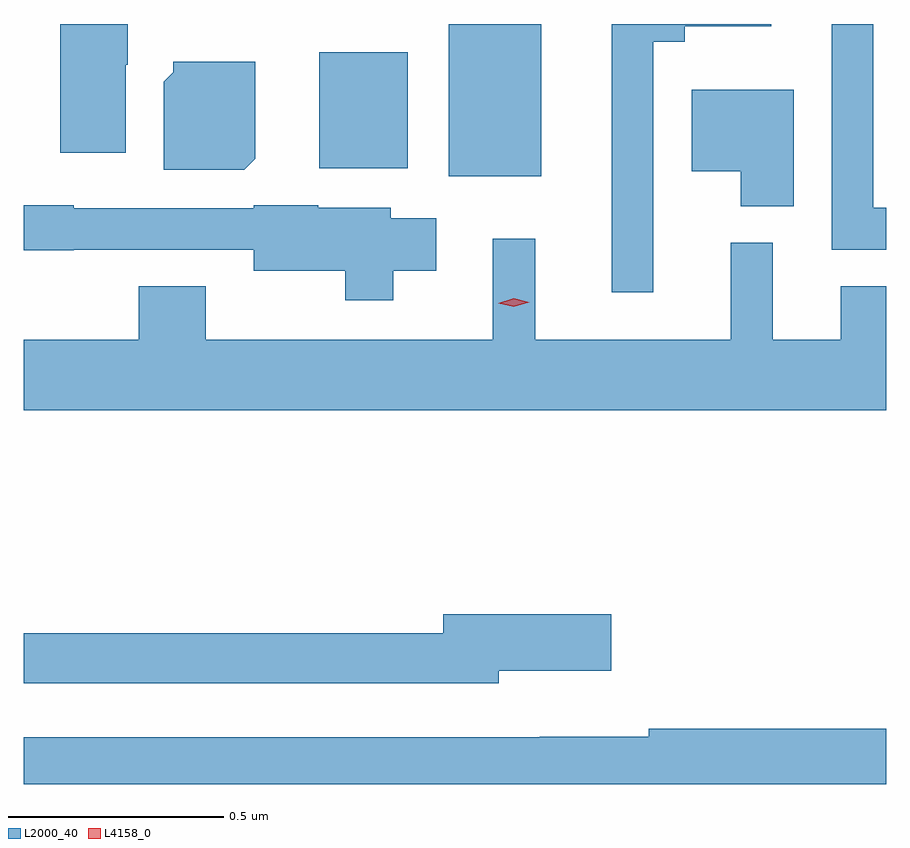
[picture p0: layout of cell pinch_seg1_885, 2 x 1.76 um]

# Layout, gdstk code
import gdstk
lib = gdstk.Library(unit=1e-6, precision=1e-09)
def R(c, l, rs):  # rectangles x0, y0, x1, y1
    for r in rs: c.add(gdstk.rectangle(r[:2], r[2:], *l))
def P(c, l, *ps):  # polygons
    for p in ps: c.add(gdstk.Polygon(p, *l))
L2000_40 = (2000, 40)
L4158_0 = (4158, 0)

pinch_seg1_885 = lib.new_cell('pinch_seg1_885')
R(pinch_seg1_885, L2000_40, [(483.26,513.647,483.475,514), (482.96,513.665,483.166,513.934)])
P(pinch_seg1_885, L2000_40, [(482.512,513.906),(482.516,513.906),(482.516,514),(482.36,514),(482.36,513.702),(482.512,513.702)],
  [(483.735,513.959),(483.808,513.959),(483.808,513.995),(484.008,513.995),(484.008,514),(483.638,514),(483.638,513.378),(483.735,513.378)],
  [(484.275,513.574),(484.245,513.574),(484.245,514),(484.148,514),(484.148,513.999),(484.149,513.999),(484.149,513.477),(484.275,513.477)],
  [(482.812,513.688),(482.812,513.913),(482.622,513.913),(482.622,513.888),(482.6,513.866),(482.6,513.662),(482.786,513.662)],
  [(484.06,513.847),(483.824,513.847),(483.824,513.659),(483.938,513.659),(483.938,513.578),(484.06,513.578)],
  [(483.132,513.428),(483.232,513.428),(483.232,513.55),(483.126,513.55),(483.126,513.574),(482.958,513.574),(482.958,513.58),(482.808,513.58),(482.808,513.573),(482.391,513.573),(482.391,513.58),(482.275,513.58),(482.275,513.476),(482.391,513.476),(482.391,513.477),(482.808,513.477),(482.808,513.428),(483.021,513.428),(483.021,513.359),(483.132,513.359)],
  [(484.275,513.392),(484.169,513.392),(484.169,513.268),(484.012,513.268),(484.012,513.493),(483.914,513.493),(483.914,513.268),(483.461,513.268),(483.461,513.502),(483.362,513.502),(483.362,513.268),(482.697,513.268),(482.697,513.392),(482.542,513.392),(482.542,513.268),(482.275,513.268),(482.275,513.104),(484.275,513.104)],
  [(483.376,512.501),(483.637,512.501),(483.637,512.631),(483.248,512.631),(483.248,512.588),(482.275,512.588),(482.275,512.472),(483.376,512.472)],
  [(484.275,512.366),(483.724,512.366),(483.724,512.347),(483.472,512.347),(483.472,512.346),(482.275,512.346),(482.275,512.238),(484.275,512.238)])
P(pinch_seg1_885, L4158_0, [(483.411,513.344),(483.375,513.353),(483.375,513.353),(483.375,513.353),(483.411,513.364),(483.447,513.355),(483.447,513.355),(483.447,513.355)])

lib.write_gds('pinch_seg1_885.gds')
